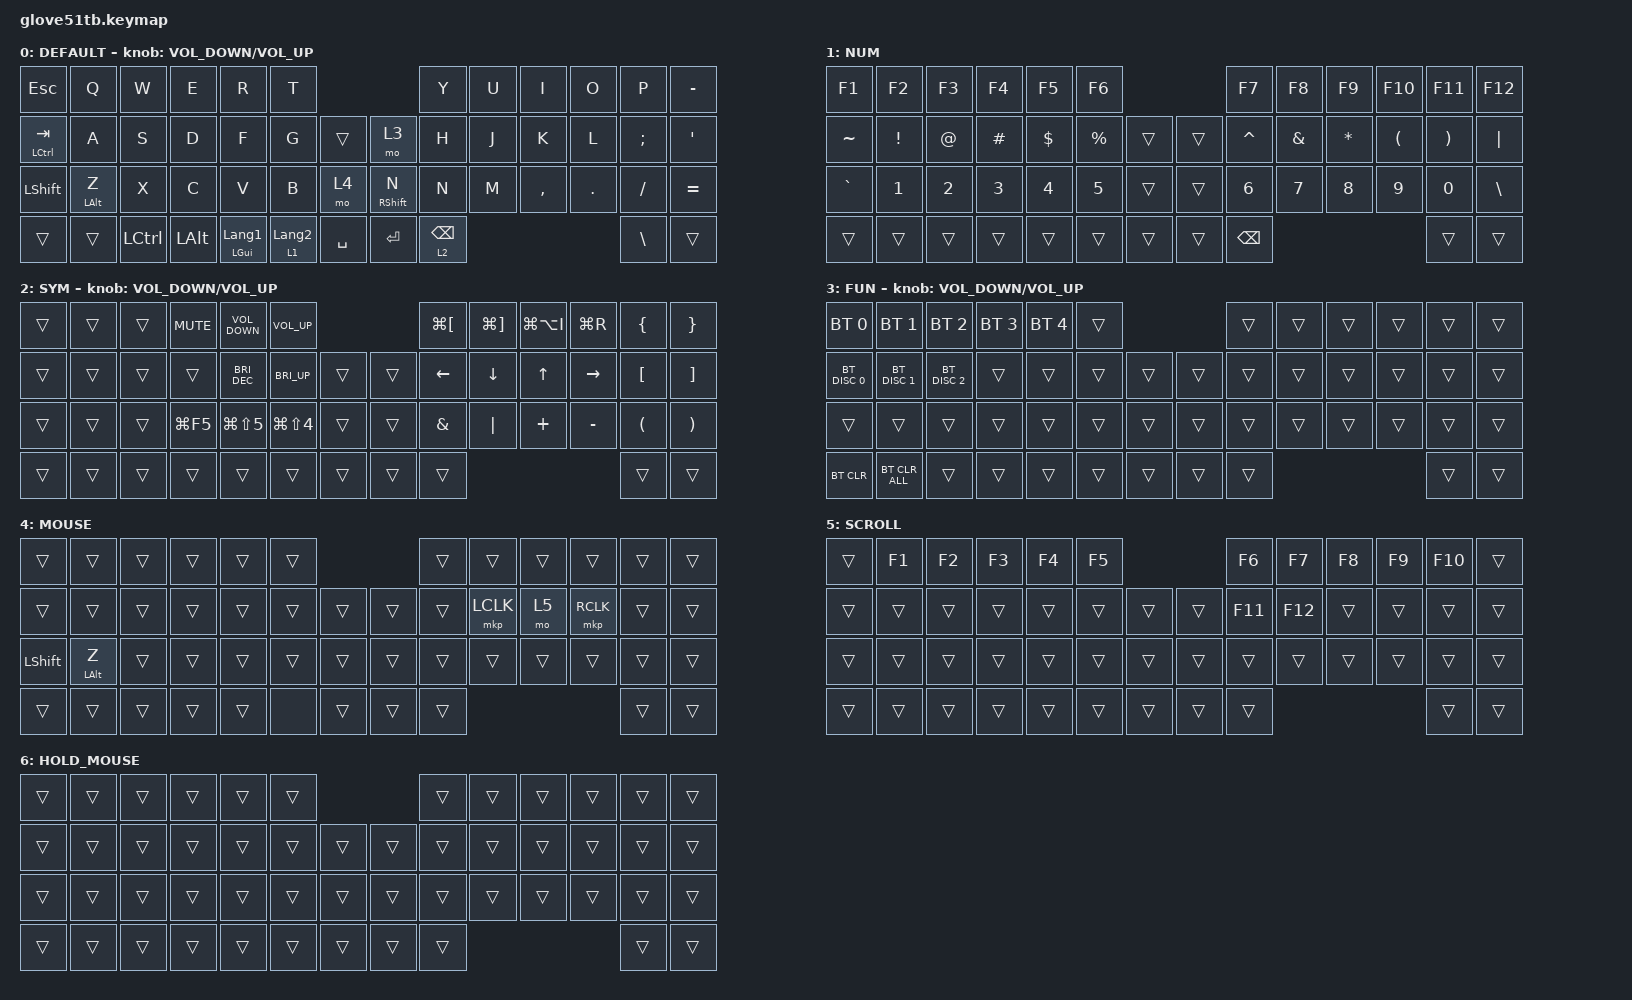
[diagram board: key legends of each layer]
#define ZMK_POINTING_DEFAULT_SCRL_VAL 150

#include <behaviors/rgbled_widget.dtsi>
#include <dt-bindings/zmk/input_transform.h>
#include <input/processors.dtsi>
#include <zephyr/dt-bindings/input/input-event-codes.h>
#include <behaviors.dtsi>
#include <dt-bindings/zmk/bt.h>
#include <dt-bindings/zmk/keys.h>
#include <dt-bindings/zmk/pointing.h>

// Layer Numbering

#define DEFAULT 0
#define NUM     1
#define SYM     2
#define FUN     3
#define MOUSE   4
#define SCROLL  5
#define SNIPE   6

&mmv {
    delay-ms = <20>;
    trigger-period-ms = <3>;
    time-to-max-speed-ms = <100>;
    acceleration-exponent = <2>;
};

&msc {
    delay-ms = <3>;
    trigger-period-ms = <100>;
    time-to-max-speed-ms = <100>;
    acceleration-exponent = <0>;
};

&lt {
    flavor = "hold-preferred";
    hold-while-undecided;
    quick-tap-ms = <100>;
};

&zip_temp_layer {
    excluded-positions = <21 22 23>;
    require-prior-idle-ms = <200>;
};

&mkp_input_listener { input-processors = <&zip_temp_layer 4 500>; };

/ {
    input_processors {
        zip_wheel_scaler: zip_wheel_scaler {
            compatible = "zmk,input-processor-scaler";
            #input-processor-cells = <2>;
            type = <INPUT_EV_REL>;
            codes = <INPUT_REL_WHEEL>;
            track-remainders;
        };
    };
};

/ {
    combos {
        compatible = "zmk,combos";

        scroll {
            bindings = <&mo 5>;
            key-positions = <22 21>;
            layers = <4>;
        };
    };

    behaviors {
        sensor_rotate_kp: sensor_rotate_kp {
            compatible = "zmk,behavior-sensor-rotate-var";
            #sensor-binding-cells = <2>;
            bindings = <&kp>, <&kp>;
        };

        mouse_wheel_scroll: mouse_wheel_scroll {
            compatible = "zmk,behavior-sensor-rotate-var";
            #sensor-binding-cells = <2>;
            bindings = <&msc>, <&msc>;

            tap-ms = <20>;
        };

        mouse_hold_scroll_behavior: mouse_hold_scroll_behavior {
            compatible = "zmk,behavior-hold-tap";
            label = "MOUSE_HOLD_SCROLL_BEHAVIOR";
            bindings = <&mo>, <&mkp>;

            #binding-cells = <2>;
            tapping-term-ms = <100>;
        };
    };

    keymap {
        compatible = "zmk,keymap";

        default_layer {
            label = "DEFAULT";
            bindings = <
&kp ESC         &kp Q           &kp W             &kp E         &kp R                    &kp T                                           &kp Y            &kp U  &kp I      &kp O    &kp P          &kp MINUS
&mt LCTRL TAB   &kp A           &kp S             &kp D         &kp F                    &kp G             &trans     &mo 3              &kp H            &kp J  &kp K      &kp L    &kp SEMI       &kp SQT
&kp LEFT_SHIFT  &mt LEFT_ALT Z  &kp X             &kp C         &kp V                    &kp B             &mo 4      &mt RIGHT_SHIFT N  &kp N            &kp M  &kp COMMA  &kp DOT  &kp FSLH       &kp EQUAL
&trans          &trans          &kp LEFT_CONTROL  &kp LEFT_ALT  &mt LEFT_GUI LANGUAGE_1  &lt 1 LANGUAGE_2  &kp SPACE  &kp ENTER          &lt 2 BACKSPACE                             &kp BACKSLASH  &trans
            >;

            sensor-bindings = <&sensor_rotate_kp C_VOLUME_DOWN C_VOLUME_UP>;
        };

        number_layer {
            label = "NUM";
            bindings = <
&kp F1     &kp F2        &kp F3        &kp F4        &kp F5        &kp F6                        &kp F7         &kp F8        &kp F9        &kp F10       &kp F11       &kp F12
&kp TILDE  &kp EXCL      &kp AT        &kp HASH      &kp DLLR      &kp PRCNT     &trans  &trans  &kp CARET      &kp AMPS      &kp STAR      &kp LPAR      &kp RPAR      &kp PIPE
&kp GRAVE  &kp NUMBER_1  &kp NUMBER_2  &kp NUMBER_3  &kp NUMBER_4  &kp NUMBER_5  &trans  &trans  &kp NUMBER_6   &kp NUMBER_7  &kp NUMBER_8  &kp NUMBER_9  &kp NUMBER_0  &kp BACKSLASH
&trans     &trans        &trans        &trans        &trans        &trans        &trans  &trans  &kp BACKSPACE                                            &trans        &trans
            >;
        };

        symbol_layer {
            label = "SYM";
            bindings = <
&trans  &trans  &trans  &kp K_MUTE  &kp C_VOLUME_DOWN     &kp C_VOLUME_UP                       &kp LG(LEFT_BRACKET)  &kp LG(RIGHT_BRACKET)  &kp LG(LA(I))  &kp LG(R)  &kp LBRC          &kp RBRC
&trans  &trans  &trans  &trans      &kp C_BRIGHTNESS_DEC  &kp C_BRI_UP          &trans  &trans  &kp LEFT_ARROW        &kp DOWN_ARROW         &kp UP_ARROW   &kp RIGHT  &kp LEFT_BRACKET  &kp RIGHT_BRACKET
&trans  &trans  &trans  &kp LG(F5)  &kp LG(LS(NUMBER_5))  &kp LG(LS(NUMBER_4))  &trans  &trans  &kp AMPS              &kp PIPE               &kp PLUS       &kp MINUS  &kp LPAR          &kp RPAR
&trans  &trans  &trans  &trans      &trans                &trans                &trans  &trans  &trans                                                                 &trans            &trans
            >;

            sensor-bindings = <&sensor_rotate_kp C_VOLUME_DOWN C_VOLUME_UP>;
        };

        function_layer {
            label = "FUN";
            bindings = <
&bt BT_SEL 0   &bt BT_SEL 1    &bt BT_SEL 2   &bt BT_SEL 3  &bt BT_SEL 4  &trans                  &trans  &trans  &trans  &trans  &trans  &trans
&bt BT_DISC 0  &bt BT_DISC 1   &bt BT_DISC 2  &trans        &trans        &trans  &trans  &trans  &trans  &trans  &trans  &trans  &trans  &trans
&trans         &trans          &trans         &trans        &trans        &trans  &trans  &trans  &trans  &trans  &trans  &trans  &trans  &trans
&bt BT_CLR     &bt BT_CLR_ALL  &trans         &trans        &trans        &trans  &trans  &trans  &trans                          &trans  &trans
            >;

            sensor-bindings = <&sensor_rotate_kp C_VOLUME_DOWN C_VOLUME_UP>;
        };

        mouse_layer {
            label = "MOUSE";
            bindings = <
&trans          &trans          &trans  &trans  &trans  &trans                  &trans  &trans     &trans  &trans     &trans  &trans
&trans          &trans          &trans  &trans  &trans  &trans  &trans  &trans  &trans  &mkp LCLK  &mo 5   &mkp RCLK  &trans  &trans
&kp LEFT_SHIFT  &mt LEFT_ALT Z  &trans  &trans  &trans  &trans  &trans  &trans  &trans  &trans     &trans  &trans     &trans  &trans
&trans          &trans          &trans  &trans  &trans  &none   &trans  &trans  &trans                                &trans  &trans
            >;
        };

        scroll_layer {
            label = "SCROLL";
            bindings = <
&trans  &kp F1  &kp F2  &kp F3  &kp F4  &kp F5                  &kp F6   &kp F7   &kp F8  &kp F9  &kp F10  &trans
&trans  &trans  &trans  &trans  &trans  &trans  &trans  &trans  &kp F11  &kp F12  &trans  &trans  &trans   &trans
&trans  &trans  &trans  &trans  &trans  &trans  &trans  &trans  &trans   &trans   &trans  &trans  &trans   &trans
&trans  &trans  &trans  &trans  &trans  &trans  &trans  &trans  &trans                            &trans   &trans
            >;
        };

        hold_mouse_layer {
            label = "HOLD_MOUSE";
            bindings = <
&trans  &trans  &trans  &trans  &trans  &trans                  &trans  &trans  &trans  &trans  &trans  &trans
&trans  &trans  &trans  &trans  &trans  &trans  &trans  &trans  &trans  &trans  &trans  &trans  &trans  &trans
&trans  &trans  &trans  &trans  &trans  &trans  &trans  &trans  &trans  &trans  &trans  &trans  &trans  &trans
&trans  &trans  &trans  &trans  &trans  &trans  &trans  &trans  &trans                          &trans  &trans
            >;
        };
    };
};
